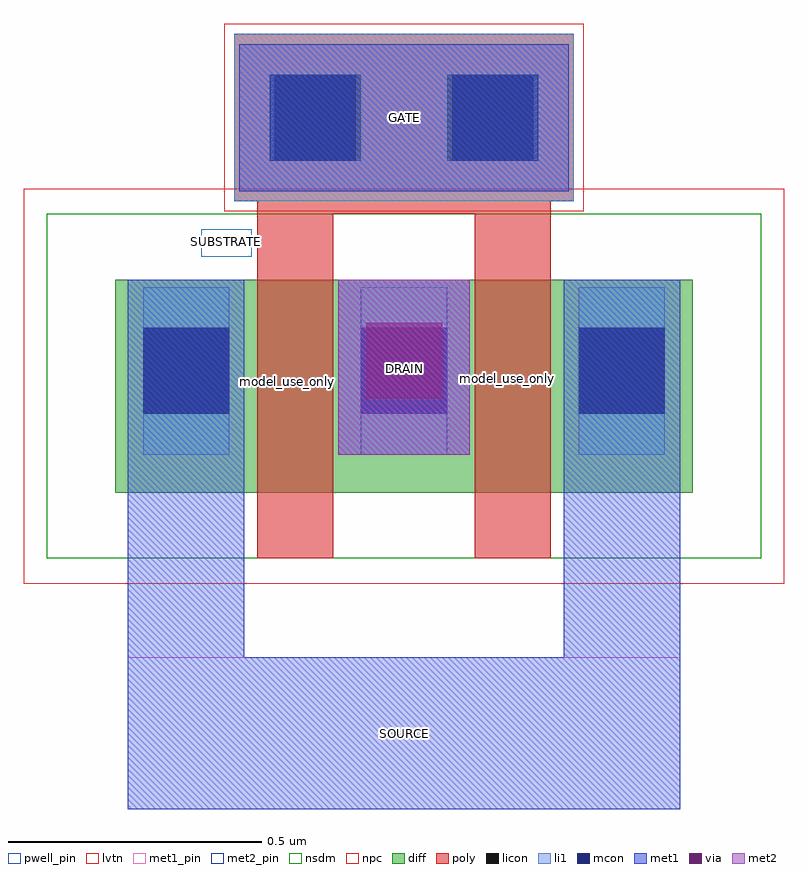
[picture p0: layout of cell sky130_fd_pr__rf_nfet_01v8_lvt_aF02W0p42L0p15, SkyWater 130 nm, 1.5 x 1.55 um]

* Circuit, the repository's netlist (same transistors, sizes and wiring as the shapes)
* Copyright 2020 The SkyWater PDK Authors
*
* Licensed under the Apache License, Version 2.0 (the "License");
* you may not use this file except in compliance with the License.
* You may obtain a copy of the License at
*
*     https://www.apache.org/licenses/LICENSE-2.0
*
* Unless required by applicable law or agreed to in writing, software
* distributed under the License is distributed on an "AS IS" BASIS,
* WITHOUT WARRANTIES OR CONDITIONS OF ANY KIND, either express or implied.
* See the License for the specific language governing permissions and
* limitations under the License.
*
* SPDX-License-Identifier: Apache-2.0


.subckt sky130_fd_pr__rf_nfet_01v8_lvt_aF02W0p42L0p15 DRAIN GATE SOURCE SUBSTRATE
X0 SOURCE GATE DRAIN SUBSTRATE sky130_fd_pr__nfet_01v8_lvt w=420000u l=150000u
X1 DRAIN GATE SOURCE SUBSTRATE sky130_fd_pr__nfet_01v8_lvt w=420000u l=150000u
.ends

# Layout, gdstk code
import gdstk
lib = gdstk.Library(unit=1e-6, precision=1e-09)
def R(c, l, rs):  # rectangles x0, y0, x1, y1
    for r in rs: c.add(gdstk.rectangle(r[:2], r[2:], *l))
def A(c, l, x, y, w, h, nx, ny, dx, dy):  # array of equal rectangles
    R(c, l, [(x+i*dx, y+j*dy, x+i*dx+w, y+j*dy+h) for i in range(nx) for j in range(ny)])
diff = (65, 20)
poly = (66, 20)
licon = (66, 44)
li1 = (67, 20)
mcon = (67, 44)
met1_pin = (68, 16)
met1 = (68, 20)
via = (68, 44)
met2_pin = (69, 16)
met2 = (69, 20)
nsdm = (93, 44)
npc = (95, 20)
pwell_pin = (122, 16)
lvtn = (125, 44)

sky130_fd_pr__rf_nfet_01 = lib.new_cell('sky130_fd_pr__rf_nfet_01v8_lvt_aF02W0p42L0p15')
A(sky130_fd_pr__rf_nfet_01, diff, 0.18, 0.18, 0.28, 0.42, 3, 1, 0.43, 0)
R(sky130_fd_pr__rf_nfet_01, diff, [(0.21,0.18,0.46,0.6), (0.46,0.18,0.61,0.6), (0.89,0.18,1.04,0.6), (1.04,0.18,1.32,0.6)])
R(sky130_fd_pr__rf_nfet_01, poly, [(0.46,0.05,0.61,0.18), (0.46,0.05,0.61,0.73), (0.89,0.05,1.04,0.18), (0.89,0.05,1.04,0.73), (0.46,0.6,0.61,0.73), (0.89,0.6,1.04,0.73), (0.46,0.73,1.04,1.085), (0.415,0.755,1.085,1.085)])
A(sky130_fd_pr__rf_nfet_01, licon, 0.235, 0.335, 0.17, 0.17, 3, 1, 0.43, 0)
R(sky130_fd_pr__rf_nfet_01, licon, [(0.495,0.835,0.665,1.005), (0.835,0.835,1.005,1.005)])
A(sky130_fd_pr__rf_nfet_01, li1, 0.235, 0.255, 0.17, 0.33, 3, 1, 0.43, 0)
R(sky130_fd_pr__rf_nfet_01, li1, [(0.415,0.755,1.085,1.085), (0.485,0.835,1.015,1.005)])
A(sky130_fd_pr__rf_nfet_01, mcon, 0.235, 0.335, 0.17, 0.17, 3, 1, 0.43, 0)
R(sky130_fd_pr__rf_nfet_01, mcon, [(0.485,0.835,0.655,1.005), (0.845,0.835,1.015,1.005)])
R(sky130_fd_pr__rf_nfet_01, met1_pin, [(0.205,-0.445,1.295,-0.145), (0.425,0.775,1.075,1.065)])
R(sky130_fd_pr__rf_nfet_01, met1, [(0.62,0.275,0.88,0.595), (0.425,0.775,1.075,1.065)])
R(sky130_fd_pr__rf_nfet_01, via, [(0.675,0.365,0.825,0.515)])
R(sky130_fd_pr__rf_nfet_01, met2_pin, [(0.62,0.255,0.88,0.6)])
R(sky130_fd_pr__rf_nfet_01, met2, [(0.62,0.255,0.88,0.6)])
R(sky130_fd_pr__rf_nfet_01, nsdm, [(0.045,0.05,0.59,0.73), (0.21,0.05,0.61,0.73), (0.48,0.05,1.02,0.73), (0.64,0.05,1.04,0.73), (0.91,0.05,1.455,0.73)])
R(sky130_fd_pr__rf_nfet_01, npc, [(0.395,0.735,1.105,1.105)])
R(sky130_fd_pr__rf_nfet_01, pwell_pin, [(0.35,0.645,0.45,0.7)])
R(sky130_fd_pr__rf_nfet_01, lvtn, [(0,0,1.5,0.78)])
sky130_fd_pr__rf_nfet_01.add(gdstk.FlexPath([(0.32,0.6),(0.32,-0.445)], 0.23, ends="flush", simple_path=True, layer=68, datatype=20))  # met1
sky130_fd_pr__rf_nfet_01.add(gdstk.FlexPath([(0.205,-0.295),(1.295,-0.295)], 0.3, ends="flush", simple_path=True, layer=68, datatype=20))  # met1
sky130_fd_pr__rf_nfet_01.add(gdstk.FlexPath([(0.75,0.6),(0.75,0.255)], 0.26, ends="flush", simple_path=True, layer=68, datatype=20))  # met1
sky130_fd_pr__rf_nfet_01.add(gdstk.FlexPath([(1.18,0.6),(1.18,-0.445)], 0.23, ends="flush", simple_path=True, layer=68, datatype=20))  # met1
sky130_fd_pr__rf_nfet_01.add(gdstk.Label('model_use_only', (0.955,0.405), layer=66, texttype=83))
sky130_fd_pr__rf_nfet_01.add(gdstk.Label('model_use_only', (0.52,0.4), layer=66, texttype=83))
sky130_fd_pr__rf_nfet_01.add(gdstk.Label('DRAIN', (0.75,0.425), layer=69, texttype=16))
sky130_fd_pr__rf_nfet_01.add(gdstk.Label('GATE', (0.75,0.92), layer=68, texttype=16))
sky130_fd_pr__rf_nfet_01.add(gdstk.Label('SOURCE', (0.75,-0.295), layer=68, texttype=16))
sky130_fd_pr__rf_nfet_01.add(gdstk.Label('SUBSTRATE', (0.4,0.675), layer=64, texttype=59))

lib.write_gds('sky130_fd_pr__rf_nfet_01v8_lvt_aF02W0p42L0p15.gds')
